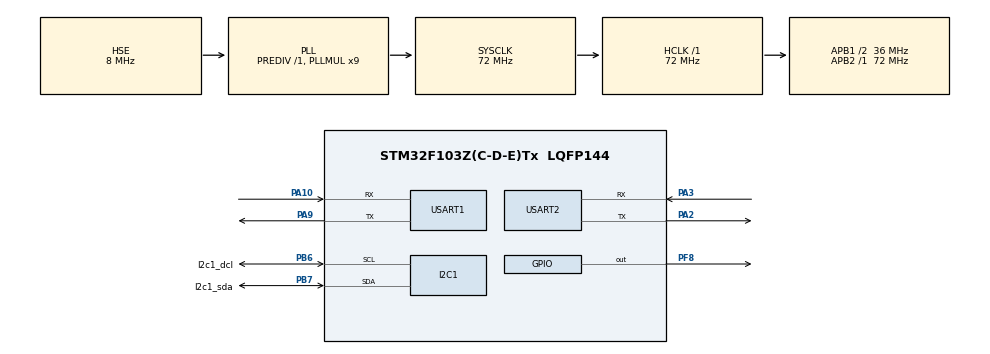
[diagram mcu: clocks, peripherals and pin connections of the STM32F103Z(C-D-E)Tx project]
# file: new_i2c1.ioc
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Mcu.Family=STM32F1
Mcu.Name=STM32F103Z(C-D-E)Tx
Mcu.Package=LQFP144
NVIC.PriorityGroup=NVIC_PRIORITYGROUP_4
OSC_IN.Mode=HSE-External-Oscillator
OSC_IN.Signal=RCC_OSC_IN
OSC_OUT.Mode=HSE-External-Oscillator
OSC_OUT.Signal=RCC_OSC_OUT
PA10.Mode=Asynchronous
PA10.Signal=USART1_RX
PA13.Mode=JTAG_5_pins
PA13.Signal=SYS_JTMS-SWDIO
PA14.Mode=JTAG_5_pins
PA14.Signal=SYS_JTCK-SWCLK
PA15.Mode=JTAG_5_pins
PA15.Signal=SYS_JTDI
PA2.Mode=Asynchronous
PA2.Signal=USART2_TX
PA3.Mode=Asynchronous
PA3.Signal=USART2_RX
PA9.Mode=Asynchronous
PA9.Signal=USART1_TX
PB3.Mode=JTAG_5_pins
PB3.Signal=SYS_JTDO-TRACESWO
PB4.Mode=JTAG_5_pins
PB4.Signal=SYS_NJTRST
PB6.GPIO_Label=I2c1_dcl
PB6.Mode=I2C
PB6.Signal=I2C1_SCL
PB7.GPIO_Label=I2c1_sda 
PB7.Mode=I2C
PB7.Signal=I2C1_SDA
PF8.Signal=GPIO_Output
ProjectManager.HeapSize=0x200
ProjectManager.StackSize=0x400
ProjectManager.TargetToolchain=MDK-ARM V5.27
RCC.AHBFreq_Value=72000000
RCC.APB1CLKDivider=RCC_HCLK_DIV2
RCC.APB1Freq_Value=36000000
RCC.APB1TimFreq_Value=72000000
RCC.APB2Freq_Value=72000000
RCC.APB2TimFreq_Value=72000000
RCC.HCLKFreq_Value=72000000
RCC.PLLMUL=RCC_PLL_MUL9
RCC.PLLSourceVirtual=RCC_PLLSOURCE_HSE
RCC.SYSCLKFreq_VALUE=72000000
RCC.SYSCLKSource=RCC_SYSCLKSOURCE_PLLCLK
RCC.USBFreq_Value=72000000
USART1.VirtualMode=VM_ASYNC
USART2.VirtualMode=VM_ASYNC
board=custom

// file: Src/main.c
/* USER CODE BEGIN Header */
/**
  ******************************************************************************
  * @file           : main.c
  * @brief          : Main program body
  ******************************************************************************
  * @attention
  *
  * <h2><center>&copy; Copyright (c) 2020 STMicroelectronics.
  * All rights reserved.</center></h2>
  *
  * This software component is licensed by ST under BSD 3-Clause license,
  * the "License"; You may not use this file except in compliance with the
  * License. You may obtain a copy of the License at:
  *                        opensource.org/licenses/BSD-3-Clause
  *
  ******************************************************************************
  */
/* USER CODE END Header */

#include "main.h"
#include "i2c.h"
#include "usart.h"
#include "gpio.h"

/* USER CODE BEGIN Includes */
#include "stdio.h"
#include "string.h"
#define I2C_PageSize  8
#define Device_addr    0xA0
#define EEPROM_TIMEOUT   1000
// 调试输出打印
extern I2C_HandleTypeDef hi2c1;
#define ITM_Port8(n)    (*((volatile unsigned char *)(0xE0000000+4*n)))
#define ITM_Port16(n)   (*((volatile unsigned short*)(0xE0000000+4*n)))
#define ITM_Port32(n)   (*((volatile unsigned long *)(0xE0000000+4*n)))
#define DEMCR           (*((volatile unsigned long *)(0xE000EDFC)))
#define TRCENA          0x01000000
struct __FILE { int handle; /* Add whatever you need here */ };
FILE __stdout;
FILE __stdin;

int fputc(int ch, FILE *f)
{
  if (DEMCR & TRCENA)
	{
    while (ITM_Port32(0) == 0){}
      ITM_Port8(0) = ch;
  }
  return(ch);
 }

/* USER CODE END Includes */

/* USER CODE BEGIN PV */
char msg[] = "abcdefghijklmno" ;   //this is a test \r\n
char buffer[40];
int8_t Remaining_bytes;
uint16_t memory_addr ;
uint8_t  len;

/* USER CODE END PV */

void SystemClock_Config(void);

int main(void)
{
  /* USER CODE BEGIN 1 */
 Remaining_bytes = strlen (msg);
	memory_addr = 0;
  /* USER CODE END 1 */

  /* MCU Configuration--------------------------------------------------------*/

  /* Reset of all peripherals, Initializes the Flash interface and the Systick. */
  HAL_Init();

  /* Configure the system clock */
  SystemClock_Config();

  /* Initialize all configured peripherals */
  MX_GPIO_Init();
  MX_I2C1_Init();
  MX_USART1_UART_Init();
  MX_USART2_UART_Init();
  /* USER CODE BEGIN 2 */
	 printf ("the Program is debugging !\r\n");
	while(Remaining_bytes > 0) //页上
	{
	    if(HAL_I2C_Mem_Write(&hi2c1, Device_addr, 0x08, I2C_PageSize,(uint8_t *)(msg+memory_addr),  Remaining_bytes ,EEPROM_TIMEOUT) == !HAL_OK)
			{
	      Error_Handler();
			}
			while (HAL_I2C_GetState(&hi2c1) != HAL_I2C_STATE_READY)
			{
			}
			while (HAL_I2C_IsDeviceReady(&hi2c1, Device_addr, 10, 300) == HAL_TIMEOUT){}

		  while (HAL_I2C_GetState(&hi2c1) != HAL_I2C_STATE_READY)
			{
			}
			Remaining_bytes -= I2C_PageSize;

		   memory_addr += I2C_PageSize;
    }

			//HAL_Delay(5);	，不一定需要
		//read msg to buffer，注意伪写
	while(HAL_I2C_Mem_Read(&hi2c1, Device_addr, 0x8, I2C_PageSize, (uint8_t *) buffer , strlen(msg), EEPROM_TIMEOUT)!= HAL_OK )
		 {
				/* Reading process Error */
				Error_Handler();

		}
	 while (HAL_I2C_GetState(&hi2c1) != HAL_I2C_STATE_READY)
  {
  }

	 len = strlen(buffer);

//	 HAL_UART_Transmit(&huart2, (uint8_t *)"Read from EEPROM:\r\n", 20, 10);
//	 HAL_Delay(200);
	 printf("buffer = %s \r\n", buffer);
  /* USER CODE END 2 */

  /* Infinite loop */
  while (1)
  {

  }
}

void SystemClock_Config(void)
{
  RCC_OscInitTypeDef RCC_OscInitStruct = {0};
  RCC_ClkInitTypeDef RCC_ClkInitStruct = {0};

  /** Initializes the CPU, AHB and APB busses clocks
  */
  RCC_OscInitStruct.OscillatorType = RCC_OSCILLATORTYPE_HSE;
  RCC_OscInitStruct.HSEState = RCC_HSE_ON;
  RCC_OscInitStruct.HSEPredivValue = RCC_HSE_PREDIV_DIV1;
  RCC_OscInitStruct.HSIState = RCC_HSI_ON;
  RCC_OscInitStruct.PLL.PLLState = RCC_PLL_ON;
  RCC_OscInitStruct.PLL.PLLSource = RCC_PLLSOURCE_HSE;
  RCC_OscInitStruct.PLL.PLLMUL = RCC_PLL_MUL9;
  if (HAL_RCC_OscConfig(&RCC_OscInitStruct) != HAL_OK)
  {
    Error_Handler();
  }
  /** Initializes the CPU, AHB and APB busses clocks
  */
  RCC_ClkInitStruct.ClockType = RCC_CLOCKTYPE_HCLK|RCC_CLOCKTYPE_SYSCLK
                              |RCC_CLOCKTYPE_PCLK1|RCC_CLOCKTYPE_PCLK2;
  RCC_ClkInitStruct.SYSCLKSource = RCC_SYSCLKSOURCE_PLLCLK;
  RCC_ClkInitStruct.AHBCLKDivider = RCC_SYSCLK_DIV1;
  RCC_ClkInitStruct.APB1CLKDivider = RCC_HCLK_DIV2;
  RCC_ClkInitStruct.APB2CLKDivider = RCC_HCLK_DIV1;

  if (HAL_RCC_ClockConfig(&RCC_ClkInitStruct, FLASH_LATENCY_2) != HAL_OK)
  {
    Error_Handler();
  }
}

/* USER CODE BEGIN 4 */
//int fputc(int ch, FILE *f)
//{
//      HAL_UART_Transmit(&huart2, (uint8_t *)&ch,1, 0xFFFF);
//      return ch;
//}

/* USER CODE END 4 */

void Error_Handler(void)
{
  /* USER CODE BEGIN Error_Handler_Debug */
  /* User can add his own implementation to report the HAL error return state */
	printf ("the Program failed !\r\n");

	while(1)
	{
			HAL_GPIO_TogglePin(GPIOF, GPIO_PIN_8);
		  HAL_Delay (1000);
	}
  /* USER CODE END Error_Handler_Debug */
}

/************************ (C) COPYRIGHT STMicroelectronics *****END OF FILE****/
